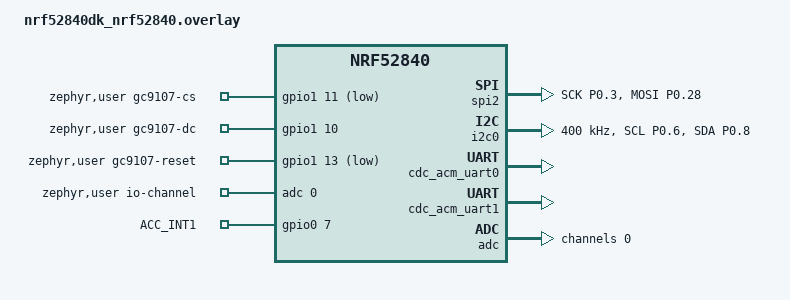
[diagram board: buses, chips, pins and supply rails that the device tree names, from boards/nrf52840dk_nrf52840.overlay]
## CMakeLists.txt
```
cmake_minimum_required(VERSION 3.20.0)

find_package(Zephyr REQUIRED HINTS $ENV{ZEPHYR_BASE})
project(smart_motion_keychain_xiao)

set(KEYCHAIN_ROOT ${CMAKE_CURRENT_SOURCE_DIR}/..)

# oled_display_zephyr.c (SSD1306/I2C, standard hardware) and
# gc9107_display_zephyr.c (the bodge-wired round SPI panel) both implement
# oled_display.h and cannot be compiled together - same symbols, one linker.
# Every unit still ships the I2C OLED unless a build deliberately overrides
# this, e.g. -DKEYCHAIN_DISPLAY_DRIVER=gc9107_display_zephyr.c.
set(KEYCHAIN_DISPLAY_DRIVER "oled_display_zephyr.c" CACHE STRING
    "Which src/*_zephyr.c file provides the oled_display.h API")

target_sources(app PRIVATE
    src/battery_zephyr.c
    src/i2c_scan.c
    src/main.c
    src/mpu6050_zephyr.c
    src/${KEYCHAIN_DISPLAY_DRIVER}
    src/phone_sync_zephyr.c
    src/usb_dfu_touch.c
    ${KEYCHAIN_ROOT}/components/breakout_game/breakout_game.c
    ${KEYCHAIN_ROOT}/components/device_clock/device_clock.c
    ${KEYCHAIN_ROOT}/components/draw_pad/draw_pad.c
    ${KEYCHAIN_ROOT}/components/flip_animation/flip_animation.c
    ${KEYCHAIN_ROOT}/components/fluid_animation/fluid_animation.c
    ${KEYCHAIN_ROOT}/components/idle_animation/idle_animation.c
    ${KEYCHAIN_ROOT}/components/message_screen/message_screen.c
    ${KEYCHAIN_ROOT}/components/motion_detector/motion_detector.c
    ${KEYCHAIN_ROOT}/components/motion_state/motion_state.c
    ${KEYCHAIN_ROOT}/components/phone_commands/phone_commands.c
    ${KEYCHAIN_ROOT}/components/pet_behavior/pet_behavior.c
    ${KEYCHAIN_ROOT}/components/pet_face/pet_face.c
    ${KEYCHAIN_ROOT}/components/time_animation/time_animation.c
)

target_include_directories(app PRIVATE
    include
    ${KEYCHAIN_ROOT}/components/breakout_game/include
    ${KEYCHAIN_ROOT}/components/device_clock/include
    ${KEYCHAIN_ROOT}/components/draw_pad/include
    ${KEYCHAIN_ROOT}/components/flip_animation/include
    ${KEYCHAIN_ROOT}/components/fluid_animation/include
    ${KEYCHAIN_ROOT}/components/idle_animation/include
    ${KEYCHAIN_ROOT}/components/message_screen/include
    ${KEYCHAIN_ROOT}/components/motion_detector/include
    ${KEYCHAIN_ROOT}/components/motion_state/include
    ${KEYCHAIN_ROOT}/components/phone_commands/include
    ${KEYCHAIN_ROOT}/components/mpu6050/include
    ${KEYCHAIN_ROOT}/components/oled_display
    ${KEYCHAIN_ROOT}/components/oled_display/include
    ${KEYCHAIN_ROOT}/components/pet_behavior/include
    ${KEYCHAIN_ROOT}/components/pet_face/include
    ${KEYCHAIN_ROOT}/components/phone_sync/include
    ${KEYCHAIN_ROOT}/components/time_animation/include
)

# The shared animation code uses a few standard single-precision math helpers.
target_link_libraries(app PRIVATE m)
```

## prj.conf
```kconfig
# Keep the learning build observable over the XIAO USB serial connection.
CONFIG_CONSOLE=y
CONFIG_USB_DEVICE_STACK=y
CONFIG_USB_CDC_ACM=y
CONFIG_SERIAL=y
CONFIG_UART_CONSOLE=y
CONFIG_UART_LINE_CTRL=y
CONFIG_REBOOT=y
CONFIG_PRINTK=y
CONFIG_USB_DEVICE_VID=0x2886
CONFIG_USB_DEVICE_PID=0x8044
CONFIG_USB_DEVICE_MANUFACTURER="SmartMotion"
CONFIG_USB_DEVICE_PRODUCT="KeychainSync"

# External OLED and MPU-6050 share the XIAO D4/D5 I2C pins.
CONFIG_I2C=y
# Only used by the bodge-wired GC9107 display build
# (-DKEYCHAIN_DISPLAY_DRIVER=gc9107_display_zephyr.c); harmless to leave
# enabled for the standard I2C-OLED build, which never opens the SPI device.
CONFIG_SPI=y

# Preserve the Android application's existing GATT protocol.
CONFIG_BT=y
CONFIG_BT_PERIPHERAL=y
CONFIG_BT_DEVICE_NAME="KeychainSync"
CONFIG_BT_DEVICE_APPEARANCE=0
CONFIG_BT_MAX_CONN=1
CONFIG_BT_GATT_DYNAMIC_DB=n
# A drawing packet carries two bytes per point, so a large MTU is the
# difference between 9 points per write and 120. At the default MTU of 23 a
# fast stroke arrives as a stutter of short segments.
# Connection parameters, measured rather than assumed.
#
# Zephyr's defaults ask the central for a 420 ms supervision timeout, and five
# seconds into every connection the peripheral requested exactly that: the link
# went from the 9600 ms Windows offered down to 420 ms and dropped a second
# later, every time. At a 45 ms interval that allows nine missed events before
# the link is declared dead, which is a coin toss rather than a connection.
#
# Four seconds is what ordinary peripherals use. The interval is asked down to
# 15-30 ms because every ATT transaction costs one interval, and a drawing
# stream is a lot of transactions.
CONFIG_BT_PERIPHERAL_PREF_MIN_INT=12
CONFIG_BT_PERIPHERAL_PREF_MAX_INT=24
CONFIG_BT_PERIPHERAL_PREF_LATENCY=0
CONFIG_BT_PERIPHERAL_PREF_TIMEOUT=400
# The radio runs at 0 dBm by default. The nRF52840 will do +8, which is about
# two and a half times the range for a few milliamps while actually
# transmitting - and transmitting is a small fraction of the time.
# The standard Battery Service, rather than a characteristic of our own.
# It costs the same to publish and is read by anything that speaks Bluetooth -
# nRF Connect, Android's own device screen - not only by this project's app.
# Bluetooth 5 long range. The controller supports it but does not enable it,
# and the host needs BT_USER_PHY_UPDATE to let the application ask for it.
#
# The trade is range for speed and it is not small: the coded PHY sends each
# bit several times over. S=8 is four times the range at an eighth of the
# throughput; S=2 is roughly double the range at half. S=2 is what this asks
# for, because the drawing pad streams points and an eighth of the rate would
# be felt in the hand.
CONFIG_BT_CTLR_PHY_CODED=y
CONFIG_BT_USER_PHY_UPDATE=y
CONFIG_BT_BAS=y
CONFIG_BT_CTLR_TX_PWR_PLUS_8=y
CONFIG_BT_L2CAP_TX_MTU=247
CONFIG_BT_BUF_ACL_RX_SIZE=251
CONFIG_BT_BUF_ACL_TX_SIZE=251
CONFIG_BT_CTLR_DATA_LENGTH_MAX=251

# FLIP uses floating-point physics on the nRF52840 Cortex-M4F.
CONFIG_FPU=y
CONFIG_MAIN_STACK_SIZE=8192
CONFIG_SYSTEM_WORKQUEUE_STACK_SIZE=2048

# The complete framebuffer and animation state fit comfortably in 256 KiB RAM.
CONFIG_HEAP_MEM_POOL_SIZE=2048
CONFIG_ASSERT=y
```

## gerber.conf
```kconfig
# BAT_SENSE reaches P0.02 / AIN0, and ACC_INT1 reaches P0.07. Both need their
# drivers even though the accelerometer is not soldered yet.
CONFIG_ADC=y
CONFIG_GPIO=y

# The E73 module supplies the mandatory 32 MHz radio crystal, but the final
# Gerber has no external 32.768 kHz crystal on XL1/XL2. Use the nRF52840's
# internal low-frequency RC oscillator and keep Zephyr's calibration enabled.
CONFIG_CLOCK_CONTROL_NRF_K32SRC_RC=y
CONFIG_CLOCK_CONTROL_NRF_K32SRC_RC_CALIBRATION=y

# The board overlay disables the DK console UART because it drives P0.06 and
# P0.08, the two pins this PCB wires to I2C. Its push-pull TX output held the
# open-drain bus, so no I2C device could ever acknowledge. The console now goes
# to a USB CDC port on the board's own USB-C connector instead, so it is kept.
CONFIG_UART_CONSOLE=y
```

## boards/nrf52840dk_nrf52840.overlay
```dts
#include <zephyr/dt-bindings/adc/adc.h>
#include <zephyr/dt-bindings/adc/nrf-saadc.h>
#include <zephyr/dt-bindings/gpio/gpio.h>
#include <zephyr/dt-bindings/i2c/i2c.h>
#include <zephyr/dt-bindings/pinctrl/nrf-pinctrl.h>

#include "../dts/e73_partitions.dtsi"

/*
 * Final Gerber target: EBYTE E73-2G4M08S1C.
 * U4 pin 14 = P0.06/SCL, U4 pin 16 = P0.08/SDA.
 */
/ {
    aliases {
        keychain-i2c = &i2c0;
    };
};

&pinctrl {
    keychain_i2c_default: keychain_i2c_default {
        group1 {
            psels = <NRF_PSEL(TWIM_SCL, 0, 6)>,
                    <NRF_PSEL(TWIM_SDA, 0, 8)>;
            bias-pull-up;
        };
    };

    keychain_i2c_sleep: keychain_i2c_sleep {
        group1 {
            psels = <NRF_PSEL(TWIM_SCL, 0, 6)>,
                    <NRF_PSEL(TWIM_SDA, 0, 8)>;
            low-power-enable;
        };
    };

    /*
     * Bodge-wired round GC9107 display, bypassing J2 (which stays on I2C for
     * the accelerometer). U4 pin 3 = P0.03 = SCK, U4 pin 4 = P0.28 = MOSI -
     * the two free, unshadowed pads on the module's outer left edge. CS, D/C
     * and RESET are plain GPIO, not part of the SPI peripheral, since the
     * display needs D/C toggled per byte and the SPI framework only knows how
     * to drive CS.
     */
    gc9107_spi_default: gc9107_spi_default {
        group1 {
            psels = <NRF_PSEL(SPIM_SCK, 0, 3)>,
                    <NRF_PSEL(SPIM_MOSI, 0, 28)>;
        };
    };

    gc9107_spi_sleep: gc9107_spi_sleep {
        group1 {
            psels = <NRF_PSEL(SPIM_SCK, 0, 3)>,
                    <NRF_PSEL(SPIM_MOSI, 0, 28)>;
            low-power-enable;
        };
    };
};

/*
 * spi1 and spi3 are already claimed by the stock nrf52840dk board file for its
 * own Arduino header, wired to pins this PCB does not expose. spi0 shares
 * silicon with i2c0, which the accelerometer bus already owns. spi2 is the
 * one instance nothing else on this board touches.
 */
&spi2 {
    compatible = "nordic,nrf-spim";
    status = "okay";
    pinctrl-0 = <&gc9107_spi_default>;
    pinctrl-1 = <&gc9107_spi_sleep>;
    pinctrl-names = "default", "sleep";
};

&i2c0 {
    compatible = "nordic,nrf-twim";
    status = "okay";
    clock-frequency = <I2C_BITRATE_FAST>;
    pinctrl-0 = <&keychain_i2c_default>;
    pinctrl-1 = <&keychain_i2c_sleep>;
    pinctrl-names = "default", "sleep";
};

/*
 * The nrf52840dk console UART claims TX on P0.06 and RX on P0.08 - exactly the
 * two pins this PCB wires to I2C. Its push-pull TX output fights the open-drain
 * bus, so no device can ever acknowledge. The E73 PCB exposes no UART pins at
 * all, so the controller is removed from this build entirely.
 */
&uart0 {
    status = "disabled";
};

/*
 * The PCB does route USB-C to the module, so the console and the 1200-baud
 * update request both live on a USB CDC port instead. The DK devicetree has no
 * such node, so it is declared here.
 */
&zephyr_udc0 {
    cdc_acm_uart0: cdc_acm_uart0 {
        compatible = "zephyr,cdc-acm-uart";
    };

    /*
     * A second port for mcumgr. The SMP transport owns its UART completely, so
     * sharing one port with the console would corrupt both. Two CDC instances
     * cost one composite descriptor and keep logs readable during an update.
     */
    cdc_acm_uart1: cdc_acm_uart1 {
        compatible = "zephyr,cdc-acm-uart";
    };
};

/ {
    chosen {
        zephyr,console = &cdc_acm_uart0;
        zephyr,uart-mcumgr = &cdc_acm_uart1;
        /delete-property/ zephyr,shell-uart;
        /delete-property/ zephyr,bt-mon-uart;
        /delete-property/ zephyr,bt-c2h-uart;
    };

    /*
     * BAT_SENSE reaches U4 pin 7, which the EBYTE manual maps to P0.02 / AIN0.
     * The R17/R18 divider sits between the cell and this pin.
     */
    /*
     * The round display's control lines: E73 pin 1 = P1.11 (CS), pin 2 =
     * P1.10 (D/C), pin 6 = P1.13 (RESET) - the three free pads left over in
     * the same outer-left row once SCK and MOSI were assigned. CS and RESET
     * read low-active straight from the datasheet; D/C is a level select, not
     * an enable, so it carries no polarity of its own.
     */
    zephyr,user {
        io-channels = <&adc 0>;
        gc9107-cs-gpios = <&gpio1 11 GPIO_ACTIVE_LOW>;
        gc9107-dc-gpios = <&gpio1 10 GPIO_ACTIVE_HIGH>;
        gc9107-reset-gpios = <&gpio1 13 GPIO_ACTIVE_LOW>;
    };

    /*
     * ACC_INT1 reaches U4 pin 22 = P0.07. The LIS2DW12 drives it on wake-up.
     * A pull-down keeps the input quiet while the sensor is not soldered.
     */
    keychain_inputs {
        compatible = "gpio-keys";

        accel_int: accel_int {
            gpios = <&gpio0 7 (GPIO_ACTIVE_HIGH | GPIO_PULL_DOWN)>;
            label = "ACC_INT1";
        };
    };
};

&adc {
    status = "okay";
    #address-cells = <1>;
    #size-cells = <0>;

    channel@0 {
        reg = <0>;
        /* Gain 1/6 against the 0.6 V internal reference gives a 3.6 V span,
         * comfortably above the ~2.1 V a halved full cell produces. */
        zephyr,gain = "ADC_GAIN_1_6";
        zephyr,reference = "ADC_REF_INTERNAL";
        zephyr,acquisition-time = <ADC_ACQ_TIME(ADC_ACQ_TIME_MICROSECONDS, 40)>;
        zephyr,input-positive = <NRF_SAADC_AIN0>;
        zephyr,resolution = <12>;
    };
};
```

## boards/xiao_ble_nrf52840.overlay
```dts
#include <zephyr/dt-bindings/i2c/i2c.h>

/ {
    aliases {
        keychain-i2c = &i2c1;
    };
};

/*
 * XIAO's board definition maps i2c1 to the labelled D4/SDA and D5/SCL pins.
 * Both external modules use this bus and are distinguished by address.
 */
&i2c1 {
    status = "okay";
    clock-frequency = <I2C_BITRATE_FAST>;
};
```

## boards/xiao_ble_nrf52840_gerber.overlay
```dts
#include <zephyr/dt-bindings/i2c/i2c.h>
#include <zephyr/dt-bindings/pinctrl/nrf-pinctrl.h>

/*
 * Transitional image for a programmed XIAO nRF52840 SoC that will be moved
 * to the Gerber hardware.  Keep XIAO's USB bootloader flash layout, but route
 * the application I2C bus exactly like U4 in Gerber_PCBkey_cat.zip:
 * U4 pin 14 = P0.06/SCL and U4 pin 16 = P0.08/SDA.
 */
/ {
    aliases {
        keychain-i2c = &i2c1;
    };
};

&pinctrl {
    keychain_usb_gerber_i2c_default: keychain_usb_gerber_i2c_default {
        group1 {
            psels = <NRF_PSEL(TWIM_SCL, 0, 6)>,
                    <NRF_PSEL(TWIM_SDA, 0, 8)>;
            bias-pull-up;
        };
    };

    keychain_usb_gerber_i2c_sleep: keychain_usb_gerber_i2c_sleep {
        group1 {
            psels = <NRF_PSEL(TWIM_SCL, 0, 6)>,
                    <NRF_PSEL(TWIM_SDA, 0, 8)>;
            low-power-enable;
        };
    };
};

&i2c1 {
    status = "okay";
    clock-frequency = <I2C_BITRATE_FAST>;
    pinctrl-0 = <&keychain_usb_gerber_i2c_default>;
    pinctrl-1 = <&keychain_usb_gerber_i2c_sleep>;
    pinctrl-names = "default", "sleep";
};
```

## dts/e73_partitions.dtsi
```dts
/*
 * Flash layout for the E73 keychain PCB, shared by MCUboot and the application.
 * Both must agree on this map exactly, which is why it lives in one file.
 *
 *   0x000000  mcuboot   64 KB   serial recovery over USB CDC needs ~58 KB,
 *                               so the stock 48 KB boot partition is too small
 *   0x010000  image-0  448 KB   the running application
 *   0x080000  image-1  448 KB   upload target for future swap-based updates
 *   0x0F0000  storage   64 KB
 */

&flash0 {
	partitions {
		/* Replace the stock nrf52840_partition.dtsi map. */
		/delete-node/ partition@0;
		/delete-node/ partition@c000;
		/delete-node/ partition@82000;
		/delete-node/ partition@f8000;

		boot_partition: partition@0 {
			label = "mcuboot";
			reg = <0x00000000 0x00010000>;
		};

		slot0_partition: partition@10000 {
			label = "image-0";
			reg = <0x00010000 0x00070000>;
		};

		slot1_partition: partition@80000 {
			label = "image-1";
			reg = <0x00080000 0x00070000>;
		};

		storage_partition: partition@f0000 {
			label = "storage";
			reg = <0x000f0000 0x00010000>;
		};
	};
};
```

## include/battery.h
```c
#ifndef BATTERY_H
#define BATTERY_H

#include <stdbool.h>
#include <stdint.h>

#include "esp_err.h"

/*
 * Battery gauge for the E73 keychain PCB.
 *
 * BAT_SENSE reaches U4 pin 7, which the EBYTE manual maps to P0.02 / AIN0. The
 * R17/R18 divider between the cell and that pin has no value printed in the
 * Gerber, so the ratio applied here is an assumption - see battery_zephyr.c.
 */

#define BATTERY_PERCENT_UNKNOWN 255U

typedef struct {
    /* Measured at the pin, before the divider is undone. Logged so the ratio
     * can be corrected from a single multimeter reading of the cell. */
    int32_t pin_millivolts;
    /* Pin reading scaled back up to the cell, using the assumed ratio. */
    int32_t cell_millivolts;
    /*
     * What the cell would read with the charger off. Charge current lifts the
     * terminal voltage, and on the steep middle of a LiPo curve that lift is
     * worth about ten percentage points, so the percentage is derived from
     * this rather than from the raw reading.
     */
    int32_t resting_millivolts;
    uint8_t percent;
} battery_reading_t;

/* Returns ESP_ERR_NOT_SUPPORTED when this build has no ADC channel. */
esp_err_t battery_init(void);

bool battery_is_available(void);

/*
 * One conversion. `charging` tells the gauge to undo the lift the charger puts
 * on the terminal voltage. Returns false when no reading could be taken.
 */
bool battery_sample(battery_reading_t *reading, bool charging);

#endif /* BATTERY_H */
```

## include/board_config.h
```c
#ifndef XIAO_BOARD_CONFIG_H
#define XIAO_BOARD_CONFIG_H

/* Display geometry is shared by every renderer in the original application. */
#define BOARD_OLED_WIDTH 128
#define BOARD_OLED_HEIGHT 64

/* Hardware addresses stay centralized instead of being repeated in drivers. */
#define BOARD_OLED_I2C_ADDRESS 0x3C
#define BOARD_LIS2DW12_I2C_ADDRESS 0x18
#define BOARD_MPU6050_I2C_ADDRESS 0x68

/* Each board overlay maps this alias to its physically routed I2C controller. */
#define BOARD_I2C_NODE DT_ALIAS(keychain_i2c)

/*
 * The bodge-wired round GC9107 display: bus and control lines defined in
 * nrf52840dk_nrf52840.overlay. Physical panel resolution, distinct from
 * BOARD_OLED_WIDTH/HEIGHT above, which stays 128x64 - every renderer still
 * draws into that logical canvas, and the driver places it inside the round
 * panel's larger physical frame at present() time.
 */
#define BOARD_GC9107_SPI_NODE DT_NODELABEL(spi2)
#define BOARD_GC9107_WIDTH 128
#define BOARD_GC9107_HEIGHT 115

#endif /* XIAO_BOARD_CONFIG_H */
```

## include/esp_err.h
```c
#ifndef XIAO_ESP_ERR_COMPAT_H
#define XIAO_ESP_ERR_COMPAT_H

/*
 * Portable application components use ESP-IDF-style result names. Keeping this
 * tiny compatibility type avoids copying otherwise platform-neutral logic.
 */
typedef int esp_err_t;

#define ESP_OK 0
#define ESP_FAIL (-1)
#define ESP_ERR_NO_MEM (-2)
#define ESP_ERR_INVALID_ARG (-3)
#define ESP_ERR_INVALID_STATE (-4)
#define ESP_ERR_INVALID_SIZE (-5)
#define ESP_ERR_NOT_FOUND (-6)
#define ESP_ERR_INVALID_RESPONSE (-7)
#define ESP_ERR_TIMEOUT (-8)
#define ESP_ERR_NOT_SUPPORTED (-9)

static inline const char *esp_err_to_name(esp_err_t error)
{
    switch (error) {
    case ESP_OK: return "ESP_OK";
    case ESP_FAIL: return "ESP_FAIL";
    case ESP_ERR_NO_MEM: return "ESP_ERR_NO_MEM";
    case ESP_ERR_INVALID_ARG: return "ESP_ERR_INVALID_ARG";
    case ESP_ERR_INVALID_STATE: return "ESP_ERR_INVALID_STATE";
    case ESP_ERR_INVALID_SIZE: return "ESP_ERR_INVALID_SIZE";
    case ESP_ERR_NOT_FOUND: return "ESP_ERR_NOT_FOUND";
    case ESP_ERR_INVALID_RESPONSE: return "ESP_ERR_INVALID_RESPONSE";
    case ESP_ERR_TIMEOUT: return "ESP_ERR_TIMEOUT";
    case ESP_ERR_NOT_SUPPORTED: return "ESP_ERR_NOT_SUPPORTED";
    default: return "ESP_ERR_UNKNOWN";
    }
}

#endif /* XIAO_ESP_ERR_COMPAT_H */
```

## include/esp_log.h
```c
#ifndef XIAO_ESP_LOG_COMPAT_H
#define XIAO_ESP_LOG_COMPAT_H

#include <zephyr/sys/printk.h>

/* Keep existing log call sites readable while Zephyr owns the console. */
#define ESP_LOGI(tag, format, ...) \
    printk("I (%s): " format "\n", tag, ##__VA_ARGS__)
#define ESP_LOGW(tag, format, ...) \
    printk("W (%s): " format "\n", tag, ##__VA_ARGS__)
#define ESP_LOGE(tag, format, ...) \
    printk("E (%s): " format "\n", tag, ##__VA_ARGS__)

#endif /* XIAO_ESP_LOG_COMPAT_H */
```

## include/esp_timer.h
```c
#ifndef XIAO_ESP_TIMER_COMPAT_H
#define XIAO_ESP_TIMER_COMPAT_H

#include <stdint.h>
#include <zephyr/kernel.h>

static inline int64_t esp_timer_get_time(void)
{
    /* Application timing is expressed in microseconds on both platforms. */
    return k_ticks_to_us_floor64(k_uptime_ticks());
}

#endif /* XIAO_ESP_TIMER_COMPAT_H */
```

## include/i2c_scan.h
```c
#ifndef I2C_SCAN_H
#define I2C_SCAN_H

/* Log every address that acknowledges on the shared I2C bus. */
void i2c_scan_log(void);

#endif /* I2C_SCAN_H */
```

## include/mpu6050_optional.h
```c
#ifndef XIAO_MPU6050_OPTIONAL_H
#define XIAO_MPU6050_OPTIONAL_H

#include <stdbool.h>

/* Lets the app remain interactive while the external sensor is disconnected. */
bool mpu6050_is_available(void);

#endif /* XIAO_MPU6050_OPTIONAL_H */
```

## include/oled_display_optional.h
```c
#ifndef XIAO_OLED_DISPLAY_OPTIONAL_H
#define XIAO_OLED_DISPLAY_OPTIONAL_H

#include <stdbool.h>

/* The main loop uses this to retry a display connected after boot. */
bool oled_display_is_available(void);

#endif /* XIAO_OLED_DISPLAY_OPTIONAL_H */
```

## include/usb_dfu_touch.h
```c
#ifndef XIAO_USB_DFU_TOUCH_H
#define XIAO_USB_DFU_TOUCH_H

/* Call from the cooperative loop to support Arduino-style 1200-baud reset. */
void usb_dfu_touch_poll(void);

#endif /* XIAO_USB_DFU_TOUCH_H */
```

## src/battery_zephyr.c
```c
#include "battery.h"

#include <zephyr/devicetree.h>
#include <zephyr/drivers/adc.h>
#include <zephyr/kernel.h>

#include "esp_log.h"

static const char *TAG = "battery";

#if DT_NODE_HAS_PROP(DT_PATH(zephyr_user), io_channels)

/*
 * The Gerber carries no component values, so the R17/R18 ratio is unknown. A
 * 1:1 divider - the usual choice for a single-cell sense line - is assumed
 * here. Every sample also reports the raw pin voltage, so correcting this needs
 * exactly one multimeter measurement of CELL_PLUS:
 *
 *     BATTERY_DIVIDER_NUMERATOR = round(100 * V_cell / V_pin)
 */
#define BATTERY_DIVIDER_NUMERATOR 200
#define BATTERY_DIVIDER_DENOMINATOR 100

/*
 * How much the charger lifts the terminal voltage. Measured on this board: the
 * reading rose by 30 mV at the pin, so 60 mV at the cell, within seconds of the
 * cable going in - far too fast to be actual charge. Subtracting it turns the
 * reading back into something the discharge curve can be asked about.
 */
#define BATTERY_CHARGING_LIFT_MV 60

/* A LiPo discharge curve is far from linear; these are the usual landmarks. */
static const struct {
    int32_t millivolts;
    uint8_t percent;
} k_discharge_curve[] = {
    {4200, 100}, {4100, 90}, {4000, 80}, {3930, 70}, {3870, 60},
    {3820, 50},  {3790, 40}, {3770, 30}, {3730, 20}, {3680, 10},
    {3500, 5},   {3300, 0},
};

static const struct adc_dt_spec s_channel =
    ADC_DT_SPEC_GET_BY_IDX(DT_PATH(zephyr_user), 0);
static bool s_available;

/*
 * Smoothed pin voltage. A raw reading walks around by a few millivolts, and the
 * discharge curve is steep enough around 3.7 V that this alone made the gauge
 * jump by ten percent between samples. Charging current lifts the terminal
 * voltage on top of that, so a voltage-only gauge reads high while charging -
 * smoothing hides the jitter, not that systematic error.
 */
static int32_t s_smoothed_millivolts;

static uint8_t percent_for(int32_t cell_millivolts)
{
    const size_t count = ARRAY_SIZE(k_discharge_curve);
    if (cell_millivolts >= k_discharge_curve[0].millivolts) {
        return k_discharge_curve[0].percent;
    }
    if (cell_millivolts <= k_discharge_curve[count - 1U].millivolts) {
        return k_discharge_curve[count - 1U].percent;
    }

    for (size_t index = 1U; index < count; ++index) {
        if (cell_millivolts < k_discharge_curve[index].millivolts) {
            continue;
        }
        /* Interpolate inside the bracket the reading landed in. */
        const int32_t high_mv = k_discharge_curve[index - 1U].millivolts;
        const int32_t low_mv = k_discharge_curve[index].millivolts;
        const int32_t high_pct = k_discharge_curve[index - 1U].percent;
        const int32_t low_pct = k_discharge_curve[index].percent;
        return (uint8_t)(low_pct + (high_pct - low_pct) *
                         (cell_millivolts - low_mv) / (high_mv - low_mv));
    }
    return k_discharge_curve[count - 1U].percent;
}

esp_err_t battery_init(void)
{
    if (!adc_is_ready_dt(&s_channel)) {
        ESP_LOGW(TAG, "ADC channel not ready; battery level stays unknown");
        return ESP_FAIL;
    }
    if (adc_channel_setup_dt(&s_channel) != 0) {
        ESP_LOGW(TAG, "ADC channel setup failed");
        return ESP_FAIL;
    }

    s_available = true;
    ESP_LOGI(TAG, "Battery sense ready on AIN0 (P0.02), assuming a %d/%d divider",
             BATTERY_DIVIDER_NUMERATOR, BATTERY_DIVIDER_DENOMINATOR);
    return ESP_OK;
}

bool battery_is_available(void)
{
    return s_available;
}

bool battery_sample(battery_reading_t *reading, bool charging)
{
    if (!s_available || reading == NULL) {
        return false;
    }

    int16_t sample = 0;
    struct adc_sequence sequence = {
        .buffer = &sample,
        .buffer_size = sizeof(sample),
    };
    if (adc_sequence_init_dt(&s_channel, &sequence) != 0 ||
        adc_read_dt(&s_channel, &sequence) != 0) {
        return false;
    }

    int32_t millivolts = sample;
    if (adc_raw_to_millivolts_dt(&s_channel, &millivolts) != 0) {
        return false;
    }

    if (s_smoothed_millivolts == 0) {
        s_smoothed_millivolts = millivolts;
    } else {
        s_smoothed_millivolts = (s_smoothed_millivolts * 3 + millivolts) / 4;
    }

    reading->pin_millivolts = millivolts;
    reading->cell_millivolts = (s_smoothed_millivolts *
                                BATTERY_DIVIDER_NUMERATOR) /
                               BATTERY_DIVIDER_DENOMINATOR;
    reading->resting_millivolts = reading->cell_millivolts -
                                  (charging ? BATTERY_CHARGING_LIFT_MV : 0);
    reading->percent = percent_for(reading->resting_millivolts);
    return true;
}

#else /* no ADC channel in this build */

esp_err_t battery_init(void)
{
    ESP_LOGI(TAG, "No battery sense channel in this build");
    return ESP_ERR_NOT_SUPPORTED;
}

bool battery_is_available(void)
{
    return false;
}

bool battery_sample(battery_reading_t *reading, bool charging)
{
    ARG_UNUSED(reading);
    ARG_UNUSED(charging);
    return false;
}

#endif
```

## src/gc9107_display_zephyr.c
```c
#include "oled_display.h"

#include <stdbool.h>
#include <stddef.h>
#include <stdint.h>
#include <string.h>

#include <zephyr/device.h>
#include <zephyr/drivers/gpio.h>
#include <zephyr/drivers/spi.h>
#include <zephyr/kernel.h>

#include "board_config.h"
#include "esp_log.h"
#include "font_5x7.h"
#include "oled_display_optional.h"

/*
 * Driver for the bodge-wired round GC9107 IPS panel, standing in for the
 * SSD1306 this project normally talks to over I2C. It implements the same
 * oled_display.h contract oled_display_zephyr.c does, so a renderer that has
 * not been touched - time_animation, message_screen, draw_pad - keeps drawing
 * into the same 128x64 monochrome canvas without change, letterboxed at
 * PANEL_Y_OFFSET into this panel's taller frame. A renderer written to know
 * about colour and the round shape (pet_face) instead calls
 * oled_display_is_color()/panel_width()/panel_height() and draws full-
 * resolution RGB565 straight into the same buffer via
 * oled_display_set_pixel_rgb(); both paths write the one s_pixel_buffer this
 * file owns, so a single oled_display_present() sends whichever was drawn.
 *
 * The two are mutually exclusive translation units: CMakeLists.txt compiles
 * one or the other, chosen by KEYCHAIN_DISPLAY_DRIVER, because both define
 * the same oled_display_* symbols. The default stays the I2C OLED; this file
 * only links in when a build explicitly asks for it, so every other unit
 * with the standard display is unaffected.
 *
 * The command set below is the MIPI DCS baseline (SLPOUT, COLMOD, MADCTL,
 * CASET/RASET/RAMWR, DISPON) common to essentially this whole family of small
 * SPI panels. What was available to write this driver was the pinout and
 * mechanical page of the GC9107 datasheet, not its full register reference,
 * so it deliberately does not touch vendor-specific gamma/power/frame-rate
 * registers that a fuller datasheet would tune - those affect image quality,
 * not whether pixels land in the right place. MADCTL's colour-order bit in
 * particular is a guess (0x00) and may need flipping once seen on hardware.
 */

#define FONT_WIDTH 5
#define FONT_HEIGHT 7
#define FONT_ADVANCE 6

#define GC9107_CMD_SLPOUT 0x11
#define GC9107_CMD_COLMOD 0x3A
#define GC9107_CMD_MADCTL 0x36
#define GC9107_CMD_CASET 0x2A
#define GC9107_CMD_RASET 0x2B
#define GC9107_CMD_RAMWR 0x2C
#define GC9107_CMD_DISPON 0x29
#define GC9107_CMD_DISPOFF 0x28

/* RGB565, one byte per bit-per-pixel-times-8: 0x05 is the DCS code for it. */
#define GC9107_COLMOD_RGB565 0x05

/* The logical canvas every renderer draws into - unchanged from the OLED. */
#define CANVAS_WIDTH BOARD_OLED_WIDTH
#define CANVAS_HEIGHT BOARD_OLED_HEIGHT

/* Centred inside the taller round panel rather than pinned to its top. */
#define PANEL_Y_OFFSET (((int)BOARD_GC9107_HEIGHT - CANVAS_HEIGHT) / 2)

static const char *TAG = "gc9107";

static const struct device *const s_spi = DEVICE_DT_GET(BOARD_GC9107_SPI_NODE);
static const struct gpio_dt_spec s_cs =
    GPIO_DT_SPEC_GET(DT_PATH(zephyr_user), gc9107_cs_gpios);
static const struct gpio_dt_spec s_dc =
    GPIO_DT_SPEC_GET(DT_PATH(zephyr_user), gc9107_dc_gpios);
static const struct gpio_dt_spec s_reset =
    GPIO_DT_SPEC_GET(DT_PATH(zephyr_user), gc9107_reset_gpios);

/*
 * One full RGB565 frame at the panel's own physical resolution, not the
 * smaller logical canvas - so a caller that wants the round display's real
 * shape and colour (oled_display_set_pixel_rgb) can reach every pixel, while
 * a caller still using the plain on/off API lands inside it letterboxed at
 * PANEL_Y_OFFSET, exactly as before. ~29 KiB, well inside this chip's 256 KiB
 * RAM, and simpler and more robust than chunking the transfer around CS
 * toggles.
 */
static uint8_t s_pixel_buffer[BOARD_GC9107_WIDTH * BOARD_GC9107_HEIGHT * 2];
static bool s_available;

static const struct spi_config s_spi_cfg = {
    /*
     * The datasheet excerpt available for this driver did not give a maximum
     * SPI clock. 8 MHz is comfortably inside what this whole controller
     * family tolerates, chosen conservatively rather than pushed for speed
     * absent a confirmed ceiling.
     */
    .frequency = 8000000,
    .operation = SPI_WORD_SET(8) | SPI_TRANSFER_MSB | SPI_OP_MODE_MASTER,
    /* CS is a plain GPIO this driver drives itself (see the file comment on
     * why: D/C needs the same per-byte handling and the SPI framework only
     * automates CS, not both). */
    .cs = {0},
};

static void select_chip(bool selected)
{
    /* GPIO_ACTIVE_LOW in the overlay means gpio_pin_set(..., 1) drives the
     * physical line low, which is exactly the "selected" state here. */
    gpio_pin_set_dt(&s_cs, selected ? 1 : 0);
}

static esp_err_t write_bytes(const uint8_t *data, size_t length, bool is_data)
{
    gpio_pin_set_dt(&s_dc, is_data ? 1 : 0);

    const struct spi_buf buf = {.buf = (void *)data, .len = length};
    const struct spi_buf_set set = {.buffers = &buf, .count = 1};

    select_chip(true);
    const int result = spi_write(s_spi, &s_spi_cfg, &set);
    select_chip(false);

    return result == 0 ? ESP_OK : ESP_FAIL;
}

static esp_err_t write_command(uint8_t command)
{
    return write_bytes(&command, 1, false);
}

static esp_err_t write_command_data(uint8_t command, const uint8_t *params,
                                    size_t length)
{
    esp_err_t err = write_command(command);
    if (err != ESP_OK || length == 0U) {
        return err;
    }
    return write_bytes(params, length, true);
}

static esp_err_t set_window(int x, int y, int width, int height)
{
    const int x_end = x + width - 1;
    const int y_end = y + height - 1;

    const uint8_t caset[4] = {(uint8_t)(x >> 8), (uint8_t)x,
                              (uint8_t)(x_end >> 8), (uint8_t)x_end};
    const uint8_t raset[4] = {(uint8_t)(y >> 8), (uint8_t)y,
                              (uint8_t)(y_end >> 8), (uint8_t)y_end};

    esp_err_t err = write_command_data(GC9107_CMD_CASET, caset, sizeof(caset));
    if (err != ESP_OK) {
        return err;
    }
    return write_command_data(GC9107_CMD_RASET, raset, sizeof(raset));
}

bool oled_display_is_available(void)
{
    return s_available;
}

esp_err_t oled_display_init(void)
{
    if (s_available) {
        return ESP_OK;
    }
    if (!device_is_ready(s_spi) || !gpio_is_ready_dt(&s_cs) ||
        !gpio_is_ready_dt(&s_dc) || !gpio_is_ready_dt(&s_reset)) {
        return ESP_ERR_INVALID_STATE;
    }

    if (gpio_pin_configure_dt(&s_cs, GPIO_OUTPUT_INACTIVE) != 0 ||
        gpio_pin_configure_dt(&s_dc, GPIO_OUTPUT_INACTIVE) != 0 ||
        gpio_pin_configure_dt(&s_reset, GPIO_OUTPUT_INACTIVE) != 0) {
        return ESP_ERR_INVALID_STATE;
    }

    /* Hardware reset: the datasheet marks RESET active low and requires it to
     * initialise the chip at all - this is not optional the way it is on
     * some controllers with a software reset fallback. */
    gpio_pin_set_dt(&s_reset, 1); /* asserted (active low) */
    k_sleep(K_MSEC(10));
    gpio_pin_set_dt(&s_reset, 0); /* released */
    k_sleep(K_MSEC(120));

    esp_err_t err = write_command(GC9107_CMD_SLPOUT);
    if (err != ESP_OK) {
        return ESP_ERR_NOT_FOUND;
    }
    k_sleep(K_MSEC(120)); /* DCS-mandated settle time after sleep-out. */

    const uint8_t colmod = GC9107_COLMOD_RGB565;
    err = write_command_data(GC9107_CMD_COLMOD, &colmod, 1);
    if (err != ESP_OK) {
        return ESP_ERR_NOT_FOUND;
    }

    /*
     * Orientation/colour-order byte. 0x00 is the DCS default (top-to-bottom,
     * left-to-right, RGB). If the image comes up mirrored or colour-swapped
     * on real hardware, this is the one byte to change - not a wiring fault.
     */
    const uint8_t madctl = 0x00;
    err = write_command_data(GC9107_CMD_MADCTL, &madctl, 1);
    if (err != ESP_OK) {
        return ESP_ERR_NOT_FOUND;
    }

    err = write_command(GC9107_CMD_DISPON);
    if (err != ESP_OK) {
        return ESP_ERR_NOT_FOUND;
    }
    k_sleep(K_MSEC(20));

    s_available = true;
    oled_display_clear();
    ESP_LOGI(TAG, "GC9107 ready on %s", s_spi->name);
    return ESP_OK;
}

/* Write one pixel straight into the panel-native RGB565 buffer. Every other
 * pixel-setting function in this file funnels through here. */
static void plot_panel(int x, int y, uint16_t color)
{
    if (x < 0 || x >= BOARD_GC9107_WIDTH || y < 0 || y >= BOARD_GC9107_HEIGHT) {
        return;
    }
    const size_t offset = (size_t)(y * BOARD_GC9107_WIDTH + x) * 2U;
    s_pixel_buffer[offset] = (uint8_t)(color >> 8);
    s_pixel_buffer[offset + 1U] = (uint8_t)color;
}

void oled_display_clear(void)
{
    memset(s_pixel_buffer, 0, sizeof(s_pixel_buffer));
}

void oled_display_set_pixel(int x, int y, bool on)
{
    if (x < 0 || x >= CANVAS_WIDTH || y < 0 || y >= CANVAS_HEIGHT) {
        return;
    }
    plot_panel(x, y + PANEL_Y_OFFSET, on ? 0xFFFFU : 0x0000U);
}

bool oled_display_is_color(void)
{
    return true;
}

int oled_display_panel_width(void)
{
    return BOARD_GC9107_WIDTH;
}

int oled_display_panel_height(void)
{
    return BOARD_GC9107_HEIGHT;
}

void oled_display_set_pixel_rgb(int x, int y, uint16_t color565)
{
    plot_panel(x, y, color565);
}

static const uint8_t *font_5x7_find(char character)
{
    for (size_t index = 0; index < FONT_5X7_GLYPH_COUNT; ++index) {
        if (FONT_5X7_GLYPHS[index].character == character) {
            return FONT_5X7_GLYPHS[index].columns;
        }
    }
    return NULL;
}

static void draw_character_scaled(int x, int y, char character, int scale)
{
    const uint8_t *columns = font_5x7_find(character);
    if (columns == NULL) {
        return;
    }

    for (int column = 0; column < FONT_WIDTH; ++column) {
        for (int row = 0; row < FONT_HEIGHT; ++row) {
            if ((columns[column] & (1U << row)) == 0U) {
                continue;
            }
            for (int block_y = 0; block_y < scale; ++block_y) {
                for (int block_x = 0; block_x < scale; ++block_x) {
                    oled_display_set_pixel(x + column * scale + block_x,
                                           y + row * scale + block_y, true);
                }
            }
        }
    }
}

void oled_display_draw_text(int x, int y, const char *text)
{
    if (text == NULL) {
        return;
    }
    while (*text != '\0') {
        draw_character_scaled(x, y, *text++, 1);
        x += FONT_ADVANCE;
    }
}

static void draw_character_rgb(int x, int y, char character, uint16_t color)
{
    const uint8_t *columns = font_5x7_find(character);
    if (columns == NULL) {
        return;
    }

    for (int column = 0; column < FONT_WIDTH; ++column) {
        for (int row = 0; row < FONT_HEIGHT; ++row) {
            if ((columns[column] & (1U << row)) != 0U) {
                plot_panel(x + column, y + row, color);
            }
        }
    }
}

void oled_display_draw_text_rgb(int x, int y, const char *text,
                                uint16_t color565)
{
    if (text == NULL) {
        return;
    }
    while (*text != '\0') {
        draw_character_rgb(x, y, *text++, color565);
        x += FONT_ADVANCE;
    }
}

void oled_display_draw_text_scaled(int x, int y, const char *text, int scale)
{
    if (text == NULL) {
        return;
    }
    if (scale < 1) {
        scale = 1;
    }
    while (*text != '\0') {
        draw_character_scaled(x, y, *text++, scale);
        x += FONT_ADVANCE * scale;
    }
}

int oled_display_text_width(const char *text, int scale)
{
    if (text == NULL) {
        return 0;
    }
    if (scale < 1) {
        scale = 1;
    }
    const int characters = (int)strlen(text);
    if (characters == 0) {
        return 0;
    }
    return characters * FONT_ADVANCE * scale - scale;
}

void oled_display_draw_rect(int x, int y, int width, int height, bool on)
{
    if (width <= 0 || height <= 0) {
        return;
    }
    for (int px = x; px < x + width; ++px) {
        oled_display_set_pixel(px, y, on);
        oled_display_set_pixel(px, y + height - 1, on);
    }
    for (int py = y; py < y + height; ++py) {
        oled_display_set_pixel(x, py, on);
        oled_display_set_pixel(x + width - 1, py, on);
    }
}

void oled_display_fill_rect(int x, int y, int width, int height, bool on)
{
    for (int py = y; py < y + height; ++py) {
        for (int px = x; px < x + width; ++px) {
            oled_display_set_pixel(px, py, on);
        }
    }
}

esp_err_t oled_display_show_startup(void)
{
    if (!s_available) {
        return ESP_ERR_INVALID_STATE;
    }

    oled_display_clear();
    oled_display_draw_text(22, 20, "SMART KEYCHAIN");
    oled_display_draw_text(40, 36, "GC9107 READY");
    return oled_display_present();
}

/*
 * Moving where content is drawn inside the declared 128x115 window made no
 * difference to the stripes reported on the right and bottom edges - which
 * makes sense, because every present() already overwrites every pixel of
 * that window with fresh black-or-content, every frame. Nothing inside it can
 * ever go stale. So the stray pixels must be outside it: the datasheet
 * excerpt this driver was written from gives 128x115 as the visible
 * resolution, not necessarily the controller's addressable RAM, and if the
 * real GRAM is a little larger, whatever was sitting in that margin since
 * power-on has simply never been written. These two constants blank a strip
 * past the nominal edge to test and fix exactly that, without changing
 * anything about where the actual picture is drawn.
 */
#define GRAM_MARGIN_RIGHT 16
#define GRAM_MARGIN_BOTTOM 20

static const uint8_t s_black_margin[BOARD_GC9107_WIDTH * GRAM_MARGIN_BOTTOM * 2];

esp_err_t oled_display_present(void)
{
    if (!s_available) {
        return ESP_ERR_INVALID_STATE;
    }

    /* s_pixel_buffer is already RGB565 at the panel's own resolution - both
     * oled_display_set_pixel (canvas, letterboxed) and oled_display_set_pixel_rgb
     * (full panel) write into it directly, so presenting is just sending it. */
    esp_err_t err =
        set_window(0, 0, BOARD_GC9107_WIDTH, BOARD_GC9107_HEIGHT);
    if (err != ESP_OK) {
        return err;
    }

    err = write_command(GC9107_CMD_RAMWR);
    if (err != ESP_OK) {
        return err;
    }
    err = write_bytes(s_pixel_buffer, sizeof(s_pixel_buffer), true);
    if (err != ESP_OK) {
        return err;
    }

    /* Blank a margin of GRAM past the nominal edge - past-column strip down
     * the right, then the past-row strip along the bottom (that second strip
     * also covers the right strip's own overhang, so the two together tile
     * an L without leaving the bottom-right corner unwritten). */
    err = set_window(BOARD_GC9107_WIDTH, 0, GRAM_MARGIN_RIGHT,
                     BOARD_GC9107_HEIGHT + GRAM_MARGIN_BOTTOM);
    if (err != ESP_OK) {
        return err;
    }
    err = write_command(GC9107_CMD_RAMWR);
    if (err != ESP_OK) {
        return err;
    }
    err = write_bytes(s_black_margin,
                      (size_t)GRAM_MARGIN_RIGHT *
                          (BOARD_GC9107_HEIGHT + GRAM_MARGIN_BOTTOM) * 2U,
                      true);
    if (err != ESP_OK) {
        return err;
    }

    err = set_window(0, BOARD_GC9107_HEIGHT, BOARD_GC9107_WIDTH,
                     GRAM_MARGIN_BOTTOM);
    if (err != ESP_OK) {
        return err;
    }
    err = write_command(GC9107_CMD_RAMWR);
    if (err != ESP_OK) {
        return err;
    }
    return write_bytes(s_black_margin, sizeof(s_black_margin), true);
}

esp_err_t oled_display_set_contrast(uint8_t contrast)
{
    /*
     * No brightness/contrast register was available to confirm for this
     * chip - the datasheet excerpt this driver was written from covers pins
     * and the base command set, not backlight or gamma control. The pet's
     * sleep/wake dimming this normally drives is a no-op here rather than a
     * guess at an unconfirmed register.
     */
    (void)contrast;
    return s_available ? ESP_OK : ESP_ERR_INVALID_STATE;
}

esp_err_t oled_display_set_power(bool on)
{
    if (!s_available) {
        return ESP_ERR_INVALID_STATE;
    }
    return write_command(on ? GC9107_CMD_DISPON : GC9107_CMD_DISPOFF);
}

esp_err_t oled_display_deinit(void)
{
    s_available = false;
    return ESP_OK;
}
```

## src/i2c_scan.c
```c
#include "i2c_scan.h"

#include <stdbool.h>
#include <stdint.h>

#include <zephyr/device.h>
#include <zephyr/drivers/i2c.h>

#include "board_config.h"
#include "esp_log.h"

static const char *TAG = "i2c_scan";

/*
 * Walk the bus and report what answers.
 *
 * Two devices share one bus here, and when one of them stops working the useful
 * question is whether it is still electrically present at all. A scan separates
 * "the wiring came loose" from "the driver is misconfigured", which guessing
 * from a failed init cannot do.
 */
static unsigned int scan_once(const struct device *bus, const char *speed_name)
{
    unsigned int found = 0U;
    /* 0x00-0x07 and 0x78-0x7F are reserved by the I2C specification. */
    for (uint16_t address = 0x08U; address <= 0x77U; ++address) {
        /*
         * Probe both ways. An SSD1306 is a write-only controller and never
         * acknowledges a read, so scanning by reads alone reports the display
         * as missing while it is sitting there working. A zero-length write is
         * the probe that finds it; the read is kept because it distinguishes a
         * device that talks back from one that only listens.
         */
        const bool writes = i2c_write(bus, NULL, 0U, address) == 0;
        uint8_t discard = 0U;
        const bool reads = i2c_read(bus, &discard, 1U, address) == 0;

        if (!writes && !reads) {
            continue;
        }
        ++found;

        const char *name =
            (address == BOARD_OLED_I2C_ADDRESS) ? " (OLED)" :
            (address == BOARD_MPU6050_I2C_ADDRESS) ? " (MPU-6050)" :
            (address == BOARD_LIS2DW12_I2C_ADDRESS) ? " (LIS2DW12)" : "";
        ESP_LOGI(TAG, "%s: found device at 0x%02X%s [%s%s]", speed_name,
                 address, name, writes ? "write" : "", reads ? " read" : "");
    }
    ESP_LOGI(TAG, "%s: scan complete, %u device(s) found", speed_name, found);
    return found;
}

/*
 * Talk to the display the way its driver does, and report the exact error.
 *
 * An address scan uses synthetic transactions, so it can in principle miss a
 * device that only answers a real one. This sends an actual SSD1306 command
 * frame - a 0x00 control byte followed by NOP - which is precisely what the
 * driver's first write looks like. If this is NACKed, the part is not
 * answering, and no amount of driver configuration will change that.
 */
static void probe_oled_directly(const struct device *bus)
{
    const uint8_t command[] = {0x00U, 0xE3U};  /* control byte, then NOP */
    const int result = i2c_write(bus, command, sizeof(command),
                                 BOARD_OLED_I2C_ADDRESS);

    if (result == 0) {
        ESP_LOGI(TAG, "OLED at 0x%02X answered a real command write",
                 BOARD_OLED_I2C_ADDRESS);
    } else {
        ESP_LOGW(TAG, "OLED at 0x%02X did not answer a command write: %d "
                 "(-5 = no acknowledge from the bus)",
                 BOARD_OLED_I2C_ADDRESS, result);
    }
}

void i2c_scan_log(void)
{
    const struct device *const bus = DEVICE_DT_GET(BOARD_I2C_NODE);

    if (!device_is_ready(bus)) {
        ESP_LOGE(TAG, "I2C bus not ready");
        return;
    }

    /*
     * A slave interrupted mid-read can hold SDA low and lock the bus for
     * everyone. Clocking it out costs nothing when the bus is already idle.
     */
    const int recovered = i2c_recover_bus(bus);
    if (recovered != 0) {
        ESP_LOGW(TAG, "Bus recovery returned %d", recovered);
    }

    probe_oled_directly(bus);
    (void)scan_once(bus, "400 kHz");

    /*
     * Repeat slowly. Extra wiring adds bus capacitance, and a device that
     * cannot meet the rise time at 400 kHz will simply not acknowledge while
     * being perfectly healthy at 100 kHz. Finding something only in the second
     * pass means the bus is too fast, not that the device is broken.
     */
    const uint32_t slow = I2C_MODE_CONTROLLER | I2C_SPEED_SET(I2C_SPEED_STANDARD);
    const uint32_t fast = I2C_MODE_CONTROLLER | I2C_SPEED_SET(I2C_SPEED_FAST);

    if (i2c_configure(bus, slow) != 0) {
        ESP_LOGW(TAG, "Could not drop the bus to 100 kHz");
        return;
    }
    (void)scan_once(bus, "100 kHz");

    if (i2c_configure(bus, fast) != 0) {
        ESP_LOGE(TAG, "Could not restore the bus to 400 kHz");
    }
}
```
